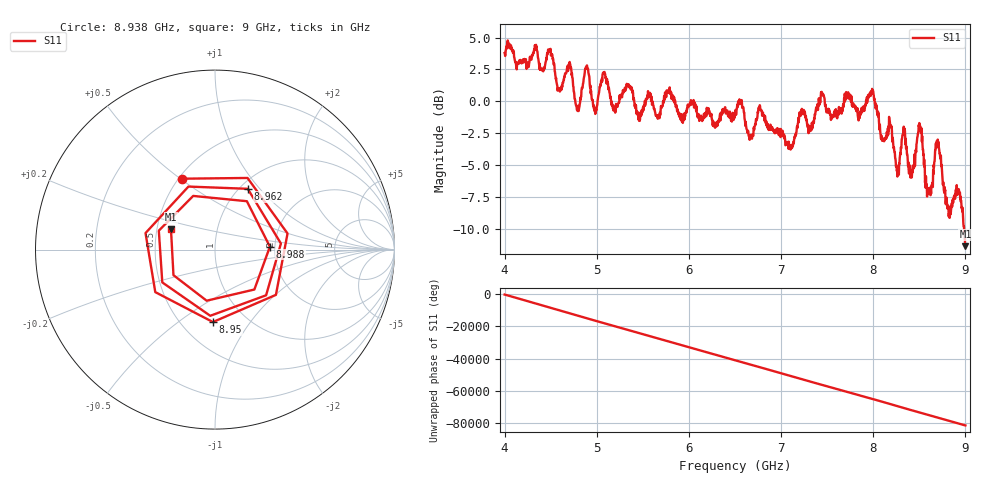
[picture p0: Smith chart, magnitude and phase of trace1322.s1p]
! Created with skrf 1.8.0 (http://scikit-rf.org).
# Hz S RI R 50.0
!freq ReS11 ImS11
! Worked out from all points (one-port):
!   1601 points, 4 GHz to 9 GHz, reference 50 ohm
!   lowest |S11| = -11.4 dB at 9 GHz (marker M1), VSWR 1.74, Z = 29.7 + j7.21 ohm
!   |S11| at or under -10 dB: 8.985577 GHz to end of sweep
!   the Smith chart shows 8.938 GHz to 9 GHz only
!   S11 on the Smith chart (normalised r, x): 8.938 GHz: 0.52, +0.51; 8.95 GHz: 0.71, -0.68; 8.962 GHz: 1.09, +0.87; 8.988 GHz: 1.88, +0.07; 9 GHz: 0.59, +0.14
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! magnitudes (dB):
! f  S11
! 4 GHz  3.8
! 4.494 GHz  3.9
! 4.625 GHz  1.1
! 4.706 GHz  3.1
! 4.794 GHz  -0.8
! 4.894 GHz  2.8
! 4.981 GHz  -0.5
! 5.078 GHz  2.2
! 5.25 GHz  0.2
! 5.875 GHz  -0.6
! 6.5 GHz  -1.1
! 7.125 GHz  -3.4
! 7.444 GHz  0.5
! 7.75 GHz  0.5
! 7.988 GHz  1.0
! 8.259 GHz  -5.4
! 8.328 GHz  -2.3
! 8.375 GHz  -4.7
! 8.428 GHz  -5.1
! 8.506 GHz  -1.9
! 8.6 GHz  -6.8
! 8.697 GHz  -3.2
! 8.809 GHz  -8.2
! 8.938 GHz  -7.2
! 8.95 GHz  -7.9
! 8.962 GHz  -8.3
! 8.988 GHz  -10.3
! 9 GHz  -11.4
